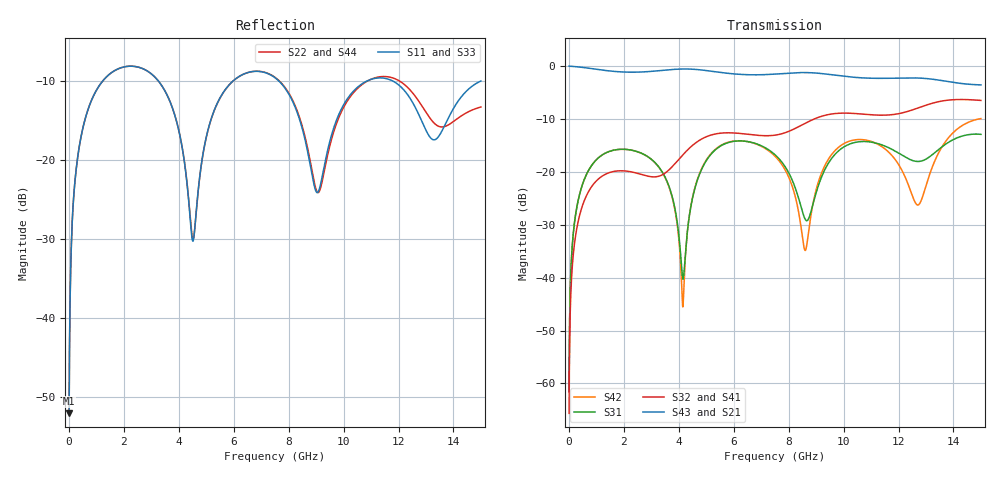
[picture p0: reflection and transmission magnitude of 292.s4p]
! Created with skrf 1.8.0 (http://scikit-rf.org).
# GHz S RI R 50.0
!freq ReS11 ImS11 ReS12 ImS12 ReS13 ImS13
! ReS14 ImS14
! ReS21 ImS21 ReS22 ImS22 ReS23 ImS23
! ReS24 ImS24
! ReS31 ImS31 ReS32 ImS32 ReS33 ImS33
! ReS34 ImS34
! ReS41 ImS41 ReS42 ImS42 ReS43 ImS43
! ReS44 ImS44
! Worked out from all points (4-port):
!   2499 points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, 5 MHz to 15 GHz, reference 50 ohm
!   strongest paths, dB at 5 MHz, 3.476 GHz, 7.19 GHz, 11.1 GHz, 15 GHz:
!     S43: 0.0, -0.8, -1.6, -2.3, -3.6
!     S21: 0.0, -0.8, -1.6, -2.3, -3.6
!     S32: -65.7, -20.3, -13.2, -9.2, -6.5
!     S41: -65.7, -20.4, -13.2, -9.2, -6.5
!     S31: -61.6, -20.8, -15.6, -14.5, -12.9
!     S42: -61.6, -20.8, -15.7, -14.4, -9.9
!   lowest |S11| = -52.1 dB at 5 MHz (marker M1), VSWR 1.00, Z = 50.2 + j0.151 ohm
!   |S11| at or under -10 dB: 3.241 GHz to 5.993 GHz (2.753 GHz wide, 59.6 % of centre); 7.623 GHz to 10.89 GHz (3.266 GHz wide, 35.3 % of centre); 11.76 GHz to end of sweep (the widest 3 of 4)
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0.005  0.00198 0.0015  0.998 -0.00386  0.000102 0.000826  -9.89e-05 -0.000512
       0.998 -0.00386  0.00198 0.0015  -9.89e-05 -0.000512  0.000102 0.000826
       0.000102 0.000826  -9.89e-05 -0.000512  0.00198 0.0015  0.998 -0.00386
       -9.89e-05 -0.000512  0.000102 0.000826  0.998 -0.00386  0.00198 0.0015
1.3193  0.2782 0.1723  0.5297 -0.7388  0.1369 0.0619  -0.0946 -0.00281
        0.5297 -0.7388  0.2783 0.1723  -0.0947 -0.00272  0.1366 0.0623
        0.1369 0.0619  -0.0947 -0.00272  0.2782 0.1723  0.5297 -0.7388
        -0.0946 -0.00281  0.1366 0.0623  0.5297 -0.7388  0.2783 0.1722
4.142273  0.0548 -0.0994  -0.8814 -0.3215  -0.00935 -0.00282  -0.0459 0.1369
          -0.8814 -0.3215  0.0556 -0.0998  -0.0445 0.1374  -0.00518 -0.00115
          -0.00935 -0.00282  -0.0445 0.1374  0.0561 -0.0985  -0.8815 -0.3214
          -0.0459 0.1369  -0.00518 -0.00115  -0.8815 -0.3214  0.054 -0.1
5.364735  0.1578 0.1538  -0.76 0.4464  0.1294 0.1013  0.1495 0.1735
          -0.76 0.4464  0.1574 0.1527  0.1511 0.1721  0.1326 0.1003
          0.1294 0.1013  0.1511 0.1721  0.1597 0.1528  -0.7599 0.4464
          0.1495 0.1735  0.1326 0.1003  -0.7599 0.4464  0.156 0.1544
9.110046  0.0634 0.0123  0.8475 0.1074  -0.00237 0.0778  0.0344 -0.3282
          0.8475 0.1074  0.0625 0.00457  0.0281 -0.3283  0.0165 0.0828
          -0.00237 0.0778  0.0281 -0.3283  0.068 0.014  0.8475 0.1072
          0.0344 -0.3282  0.0165 0.0828  0.8475 0.1072  0.0578 0.00685
11.8737  0.3015 -0.0636  -0.0871 -0.7655  0.0506 -0.1489  -0.3422 0.0739
         -0.0871 -0.7655  0.3195 -0.0567  -0.3405 0.0817  0.0692 -0.1117
         0.0506 -0.1489  -0.3405 0.0817  0.3039 -0.069  -0.0854 -0.7645
         -0.3422 0.0739  0.0692 -0.1117  -0.0854 -0.7645  0.3241 -0.0505
15  0.3115 0.0404  -0.5374 0.3903  0.184 0.1317  0.3411 0.3271
    -0.5374 0.3903  0.2151 0.000555  0.3513 0.3177  0.31 0.0741
    0.184 0.1317  0.3513 0.3177  0.3104 0.0359  -0.5387 0.3883
    0.3411 0.3271  0.31 0.0741  -0.5387 0.3883  0.2191 0.00527
